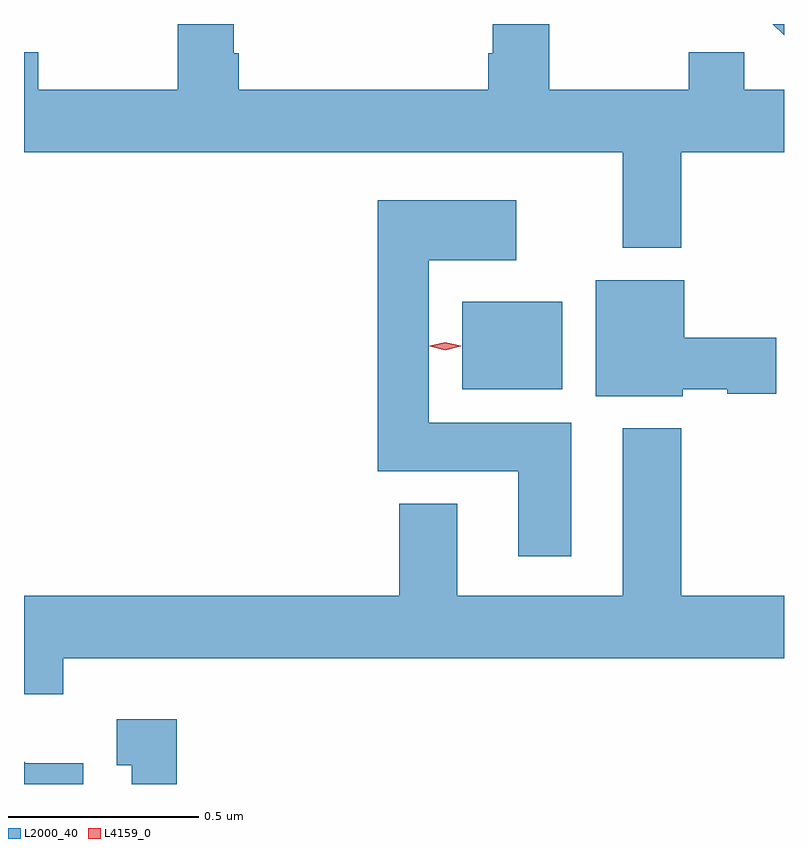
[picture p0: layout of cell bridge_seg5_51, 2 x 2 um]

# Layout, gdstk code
import gdstk
lib = gdstk.Library(unit=1e-6, precision=1e-09)
def R(c, l, rs):  # rectangles x0, y0, x1, y1
    for r in rs: c.add(gdstk.rectangle(r[:2], r[2:], *l))
def P(c, l, *ps):  # polygons
    for p in ps: c.add(gdstk.Polygon(p, *l))
L2000_40 = (2000, 40)
L4159_0 = (4159, 0)

bridge_seg5_51 = lib.new_cell('bridge_seg5_51')
R(bridge_seg5_51, L2000_40, [(794.942,909.416,795.205,909.646)])
P(bridge_seg5_51, L2000_40, [(795.518,910.04),(795.789,910.04),(795.789,910.204),(795.684,910.204),(795.684,910.303),(795.538,910.303),(795.538,910.204),(795.171,910.204),(795.171,910.377),(795.023,910.377),(795.023,910.3),(795.011,910.3),(795.011,910.204),(794.354,910.204),(794.354,910.3),(794.341,910.3),(794.341,910.377),(794.194,910.377),(794.194,910.204),(793.827,910.204),(793.827,910.303),(793.789,910.303),(793.789,910.04),(795.365,910.04),(795.365,909.788),(795.518,909.788)],
  [(795.789,910.377),(795.759,910.377),(795.789,910.347)],
  [(795.229,909.328),(794.854,909.328),(794.854,909.755),(795.085,909.755),(795.085,909.913),(794.72,909.913),(794.72,909.2),(795.089,909.2),(795.089,908.976),(795.229,908.976)],
  [(795.522,909.416),(795.639,909.416),(795.639,909.404),(795.769,909.404),(795.769,909.551),(795.526,909.551),(795.526,909.703),(795.293,909.703),(795.293,909.398),(795.522,909.398)],
  [(793.892,908.708),(795.789,908.708),(795.789,908.872),(795.518,908.872),(795.518,909.313),(795.365,909.313),(795.365,908.872),(794.929,908.872),(794.929,909.115),(794.777,909.115),(794.777,908.872),(793.789,908.872),(793.789,908.613),(793.892,908.613)],
  [(794.191,908.548),(794.033,908.548),(794.033,908.427),(794.072,908.427),(794.072,908.377),(794.191,908.377)],
  [(793.945,908.431),(793.793,908.431),(793.789,908.435),(793.789,908.377),(793.945,908.377)])
P(bridge_seg5_51, L4159_0, [(794.898,909.519),(794.857,909.529),(794.857,909.529),(794.857,909.53),(794.898,909.539),(794.938,909.53),(794.938,909.529),(794.938,909.529)])

lib.write_gds('bridge_seg5_51.gds')
